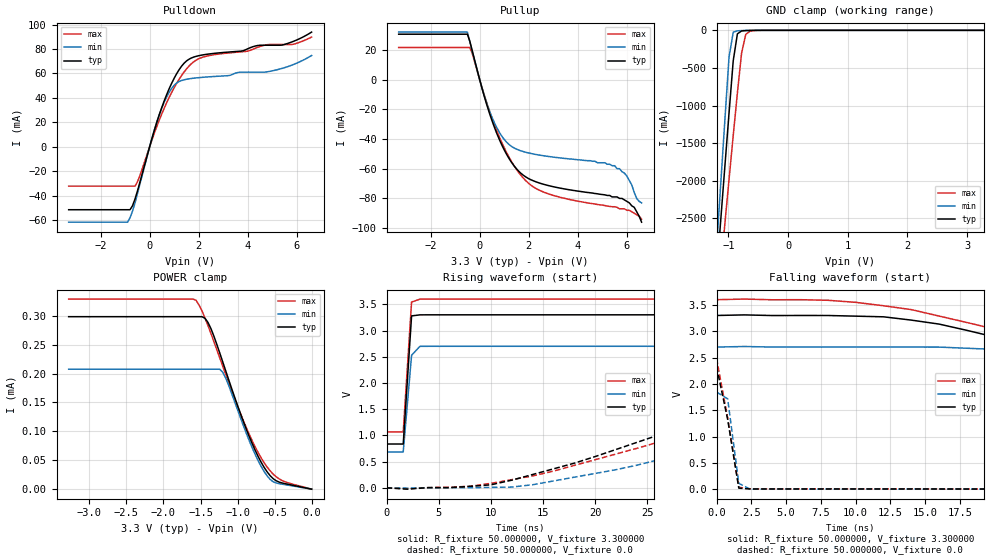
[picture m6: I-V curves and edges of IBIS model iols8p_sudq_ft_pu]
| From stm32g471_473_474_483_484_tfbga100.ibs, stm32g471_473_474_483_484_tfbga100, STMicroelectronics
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|   Model iols8p_sudq_ft_pu
[Model]  iols8p_sudq_ft_pu
Model_type I/O
Polarity   Non-Inverting
Enable   Active-Low
Vinl =   0.990000V
Vinh =   2.310000V
Vmeas =  1.650000V
Cref =   50.000000pF
Rref =   100.000000M
Vref =   0.0V
C_comp   2.036400pF   1.984000pF   2.082300pF
[Temperature Range]   25.000000   -40.000000   0.125000k
[Pullup Reference]   3.300000V   2.700000V   3.600000V
[Pulldown Reference]   0.0V   0.0V   0.0V
[POWER Clamp Reference]   3.300000V   2.700000V   3.600000V
[GND Clamp Reference]   0.0V   0.0V   0.0V
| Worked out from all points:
|   slope of the pulldown table from 0 to 0.495 V, typ, clamps not added: 15.4 ohm
|   slope of the pullup table from 0 to 0.495 V, typ, clamps not added: 18.1 ohm
|   GND clamp passes 1 mA (typ) near -0.60 V on its own axis
|   rising waveform, R_fixture 50.000000, V_fixture 3.300000: 20-80 % time 485ps typ, 525ps min, 492ps max; typ from 0.836 V to 3.3 V
|   rising waveform, R_fixture 50.000000, V_fixture 0.0: 20-80 % time 24.4ns typ, 26.2ns min, 30.7ns max; typ from 0.001 V to 2.33 V
|   falling waveform, R_fixture 50.000000, V_fixture 3.300000: 20-80 % time 21.2ns typ, 25.4ns min, 23.9ns max; typ from 3.3 V to 0.836 V
|   falling waveform, R_fixture 50.000000, V_fixture 0.0: 20-80 % time 956ps typ, 552ps min, 969ps max; typ from 2.33 V to 0.001 V
[Pulldown]
|Voltage   I(typ)   I(min)   I(max)
-3.3V     -51.62mA   -61.84mA   -32.32mA
-900mV    -51.62mA   -61.84mA   -32.32mA
-800mV    -51.62mA   -58.24mA   -32.32mA
-500mV    -36.51mA   -38.7mA    -28.96mA
400mV     26.66mA    26.58mA    22.18mA
800mV     47.72mA    44.74mA    40.6mA
1.1V      59.79mA    52.18mA    51.93mA
1.5V      70.22mA    55.24mA    63.66mA
2.1V      74.97mA    56.75mA    72.88mA
4.9V      83.13mA    61.75mA    83.74mA
5.8V      85.85mA    66.87mA    83.74mA
6.6V      93.9mA     74.68mA    89.84mA
[Pullup]
|Voltage   I(typ)   I(min)   I(max)
-3.3V     30.51mA    31.92mA    21.54mA
-500mV    30.51mA    31.92mA    21.54mA
-300mV    19.24mA    18.93mA    17.46mA
500mV     -27.53mA   -25.31mA   -25.83mA
1V        -47.29mA   -40.29mA   -45.86mA
1.5V      -60.05mA   -46.83mA   -60.43mA
2V        -66.7mA    -49.43mA   -69.91mA
2.7V      -70.92mA   -51.53mA   -76.32mA
5.5V      -79mA      -58mA      -85.6mA
6V        -82mA      -65mA      -88mA
6.3V      -86mA      -76mA      -90mA
6.6V      -96mA      -83mA      -94mA
[GND_clamp]
|Voltage   I(typ)   I(min)   I(max)
-3.3V     -9.812A    -9.822A    -9.937A
-1.2V     -3.251A    -2.905A    -3.763A
-1.13V    -2.527A    -2.046A    -3.165A
-1.06V    -1.808A    -1.191A    -2.57A
-990mV    -1.097A    -352.6mA   -1.979A
-920mV    -404.2mA   -25.08mA   -1.398A
-850mV    -46.53mA   -6.503mA   -832.3mA
-780mV    -8.496mA   -3.578mA   -302.4mA
-710mV    -3.383mA   -1.716mA   -53.8mA
-640mV    -1.589mA   -553.8uA   -11.72mA
-360mV    -2.023uA   0A         -84.67uA
3.28V     0A         0A         0A
[POWER_clamp]
|Voltage   I(typ)   I(min)   I(max)
-3.28V    298.2uA    207.4uA    328.7uA
-1.56V    298.2uA    207.4uA    326.5uA
-1.48V    298.2uA    207.4uA    308.2uA
-1.4V     288.5uA    207.4uA    283.1uA
-1.24V    235.4uA    207.4uA    226.9uA
-1.2V     220.1uA    202.1uA    212.7uA
-1.12V    189.4uA    179.6uA    184.4uA
-920mV    116.5uA    109.4uA    118.1uA
-680mV    46.31uA    39.06uA    53.8uA
-560mV    23.38uA    16.91uA    31.65uA
-480mV    14.66uA    10.76uA    21.51uA
0V        0A         0A         0A
[Ramp]
| variable   typ   min   max
dV/dt_r  1.39432/24.32907n   1.10712/26.03302n   1.49022/30.66754n
dV/dt_f  1.47837/21.11983n   1.20959/25.32351n   1.52028/23.79583n
R_load = 50.000000
[Rising Waveform]
R_fixture= 50.000000
V_fixture= 3.300000
V_fixture_min= 2.700000
V_fixture_max= 3.600000
|time   V(typ)   V(min)   V(max)
0s        836mV      684mV      1.066V
1.602ns   835.8mV    683.5mV    1.067V
2.402ns   3.279V     2.529V     3.543V
3.203ns   3.299V     2.699V     3.598V
79.28ns   3.3V       2.7V       3.6V
[Rising Waveform]
R_fixture= 50.000000
V_fixture= 0.0
V_fixture_min= 0.0
V_fixture_max= 0.0
|time   V(typ)   V(min)   V(max)
0s        932.5uV    605.4uV    1.507mV
10.01ns   58.21mV    9.253mV    85.87mV
14.01ns   255mV      59.61mV    227.5mV
22.02ns   733mV      347.4mV    646.1mV
34.03ns   1.487V     931.9mV    1.309V
46.05ns   1.978V     1.401V     1.857V
58.06ns   2.166V     1.659V     2.17V
86.09ns   2.285V     1.807V     2.399V
188.2ns   2.326V     1.846V     2.486V
997ns     2.325V     1.846V     2.486V
[Falling Waveform]
R_fixture= 50.000000
V_fixture= 3.300000
V_fixture_min= 2.700000
V_fixture_max= 3.600000
|time   V(typ)   V(min)   V(max)
0s        3.3V       2.7V       3.6V
8.008ns   3.3V       2.7V       3.589V
16.02ns   3.136V     2.699V     3.289V
24.02ns   2.583V     2.575V     2.745V
38.04ns   1.562V     1.936V     1.818V
46.05ns   1.184V     1.512V     1.461V
54.05ns   1.038V     1.14V      1.302V
62.06ns   969.1mV    930.8mV    1.229V
88.09ns   885.8mV    756.3mV    1.123V
997ns     836mV      684mV      1.066V
[Falling Waveform]
R_fixture= 50.000000
V_fixture= 0.0
V_fixture_min= 0.0
V_fixture_max= 0.0
|time   V(typ)   V(min)   V(max)
0s        2.325V     1.846V     2.486V
800.8ps   1.327V     1.716V     1.355V
1.602ns   20.24mV    111mV      36.22mV
2.402ns   4.804mV    3.818mV    6.652mV
79.28ns   932.5uV    605.4uV    1.507mV
